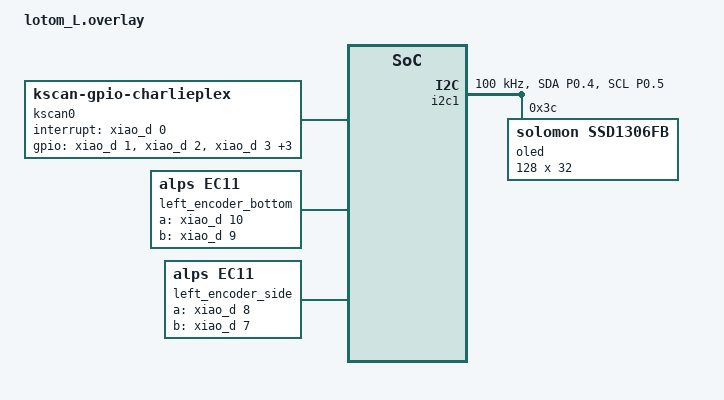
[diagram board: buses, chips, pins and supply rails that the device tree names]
#include <dt-bindings/zmk/matrix_transform.h>
#include <dt-bindings/zmk/input_transform.h>
#include <input/processors.dtsi>
#include <zephyr/dt-bindings/input/input-event-codes.h>
#include <physical_layouts.dtsi>
#include "lotom.dtsi"

/ {
    chosen {
        zmk,kscan = &kscan0;
        zmk,physical-layout = &default_layout;
        zephyr,display = &oled;
    };

    kscan0: kscan0 {
        compatible = "zmk,kscan-gpio-charlieplex";
        interrupt-gpios = <&xiao_d 0 (GPIO_ACTIVE_HIGH | GPIO_PULL_DOWN)>;
        gpios
            = <&xiao_d 1 GPIO_ACTIVE_HIGH>
            , <&xiao_d 2 GPIO_ACTIVE_HIGH>
            , <&xiao_d 3 GPIO_ACTIVE_HIGH>
            , <&xiao_d 6 GPIO_ACTIVE_HIGH>
            , <&gpio0 10 GPIO_ACTIVE_HIGH>
            , <&gpio0 9 GPIO_ACTIVE_HIGH>
            ;
    };

    split_inputs {
        #address-cells = <1>;
        #size-cells = <0>;

        trackball_split: trackball_split@0 {
            compatible = "zmk,input-split";
            reg = <0>;
        };
    };

    left_encoder_bottom: left_encoder_bottom {
        compatible = "alps,ec11";
        a-gpios = <&xiao_d 10 (GPIO_ACTIVE_HIGH | GPIO_PULL_UP)>;
        b-gpios = <&xiao_d 9 (GPIO_ACTIVE_HIGH | GPIO_PULL_UP)>;
        steps = <12>;
        status = "okay";
    };

    left_encoder_side: left_encoder_side {
        compatible = "alps,ec11";
        a-gpios = <&xiao_d 8 (GPIO_ACTIVE_HIGH | GPIO_PULL_UP)>;
        b-gpios = <&xiao_d 7 (GPIO_ACTIVE_HIGH | GPIO_PULL_UP)>;
        steps = <24>;
        status = "okay";
    };

    sensors: sensors {
        compatible = "zmk,keymap-sensors";
        sensors = <&left_encoder_bottom &left_encoder_side>;
        triggers-per-rotation = <10>;
    };

    trackball_listener: trackball_listener {
        compatible = "zmk,input-listener";
        status = "disabled";
        device = <&trackball_split>;
    };
};

&trackball_listener {
    status = "okay";
    input-processors = <&zip_temp_layer 1 400>, <&mouse_runtime_input_processor>;

    scroll {
        layers = <2>;
        input-processors = <&scroll_runtime_input_processor>, <&zip_xy_transform (INPUT_TRANSFORM_Y_INVERT)>, <&zip_xy_scaler 1 16>, <&zip_xy_to_scroll_mapper>;
    };
};

&zip_temp_layer { require-prior-idle-ms = <200>; };

// I2C設定 (OLED用)
&pinctrl {
    i2c1_default: i2c1_default {
        group1 {
            psels = <NRF_PSEL(TWIM_SDA, 0, 4)>,
                    <NRF_PSEL(TWIM_SCL, 0, 5)>;
        };
    };

    i2c1_sleep: i2c1_sleep {
        group1 {
            psels = <NRF_PSEL(TWIM_SDA, 0, 4)>,
                    <NRF_PSEL(TWIM_SCL, 0, 5)>;
            low-power-enable;
        };
    };
};

&i2c1 {
    status = "okay";
    compatible = "nordic,nrf-twi";
    pinctrl-0 = <&i2c1_default>;
    pinctrl-1 = <&i2c1_sleep>;
    pinctrl-names = "default", "sleep";

    clock-frequency = <100000>;
    oled: ssd1306@3c {
        compatible = "solomon,ssd1306fb";
        reg = <0x3c>;
        width = <128>;
        height = <32>;
        segment-offset = <0>;
        page-offset = <0>;
        display-offset = <0>;
        multiplex-ratio = <31>;
        com-sequential;
        inversion-on;
        prechargep = <0x22>;
    };
};

&xiao_serial { status = "disabled"; };
&uart0 { status = "disabled";};
